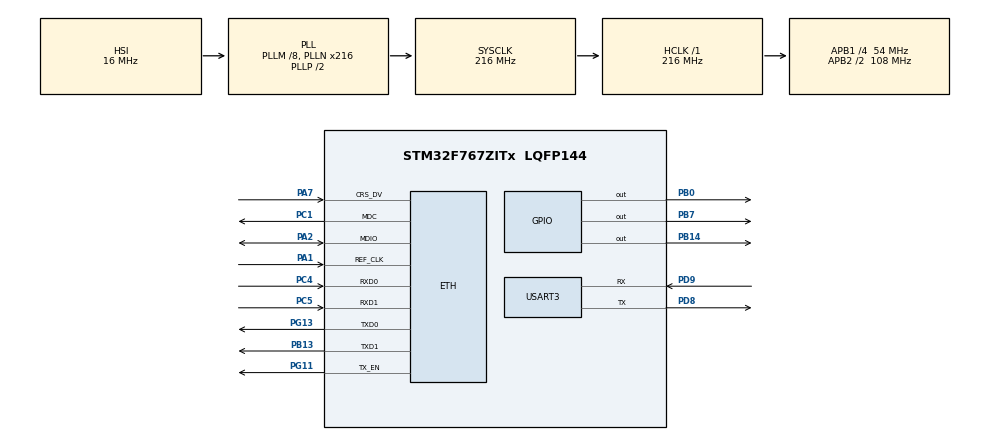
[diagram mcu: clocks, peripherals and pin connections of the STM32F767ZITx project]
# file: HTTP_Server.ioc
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ETH.MediaInterface=HAL_ETH_RMII_MODE
LWIP.BSP.number=1
LWIP.GATEWAY_ADDRESS=192.168.000.001
LWIP.IP_ADDRESS=192.168.001.025
LWIP.LWIP_DHCP=0
LWIP.LWIP_HTTPD=1
LWIP.LWIP_HTTPD_CGI=1
LWIP.NETMASK_ADDRESS=255.255.255.000
LWIP.Version=v2.1.2_Cube
LWIP0.BSP.STBoard=false
LWIP0.BSP.api=BSP_COMPONENT_DRIVER
LWIP0.BSP.component=LAN8742
LWIP0.BSP.instance=LAN8742
LWIP0.BSP.name=Driver_PHY
LWIP0.BSP.semaphore=S_LAN8742
LWIP0.BSP.solution=LAN8742
Mcu.Family=STM32F7
Mcu.Name=STM32F767ZITx
Mcu.Package=LQFP144
NVIC.PriorityGroup=NVIC_PRIORITYGROUP_4
PA1.Mode=RMII
PA1.Signal=ETH_REF_CLK
PA2.Mode=RMII
PA2.Signal=ETH_MDIO
PA7.Mode=RMII
PA7.Signal=ETH_CRS_DV
PB0.Signal=GPIO_Output
PB13.Mode=RMII
PB13.Signal=ETH_TXD1
PB14.Signal=GPIO_Output
PB7.Signal=GPIO_Output
PC1.Mode=RMII
PC1.Signal=ETH_MDC
PC4.Mode=RMII
PC4.Signal=ETH_RXD0
PC5.Mode=RMII
PC5.Signal=ETH_RXD1
PD8.Mode=Asynchronous
PD8.Signal=USART3_TX
PD9.Mode=Asynchronous
PD9.Signal=USART3_RX
PG11.Mode=RMII
PG11.Signal=ETH_TX_EN
PG13.Mode=RMII
PG13.Signal=ETH_TXD0
ProjectManager.HeapSize=0x200
ProjectManager.StackSize=0x400
ProjectManager.TargetToolchain=STM32CubeIDE
RCC.AHBFreq_Value=216000000
RCC.APB1CLKDivider=RCC_HCLK_DIV4
RCC.APB1Freq_Value=54000000
RCC.APB1TimFreq_Value=108000000
RCC.APB2CLKDivider=RCC_HCLK_DIV2
RCC.APB2Freq_Value=108000000
RCC.APB2TimFreq_Value=216000000
RCC.CortexFreq_Value=216000000
RCC.HCLKFreq_Value=216000000
RCC.HSE_VALUE=25000000
RCC.HSI_VALUE=16000000
RCC.LSE_VALUE=32768
RCC.PLLM=8
RCC.PLLN=216
RCC.SYSCLKFreq_VALUE=216000000
RCC.SYSCLKSource=RCC_SYSCLKSOURCE_PLLCLK
RCC.USBFreq_Value=216000000
RCC.VCOOutputFreq_Value=432000000
USART3.VirtualMode-Asynchronous=VM_ASYNC
VP_LWIP_VS_Enabled.Mode=Enabled
board=custom

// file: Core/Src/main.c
/* USER CODE BEGIN Header */
/**
  ******************************************************************************
  * @file           : main.c
  * @brief          : Main program body
  ******************************************************************************
  * @attention
  *
  * Copyright (c) 2023 STMicroelectronics.
  * All rights reserved.
  *
  * This software is licensed under terms that can be found in the LICENSE file
  * in the root directory of this software component.
  * If no LICENSE file comes with this software, it is provided AS-IS.
  *
  ******************************************************************************
  */
/* USER CODE END Header */
#include "main.h"
#include "lwip.h"

/* USER CODE BEGIN Includes */
#include <string.h>
#include "lwip/apps/httpd.h"
/* USER CODE END Includes */

/* USER CODE BEGIN PD */
#define TIMEOUT 5000
/* USER CODE END PD */

UART_HandleTypeDef huart3;

/* USER CODE BEGIN PV */
char msgG[10];
char msgB[10];
char msgR[10];
int GreenLED = 0;
int BlueLED = 0;
int RedLED = 0 ;

/* USER CODE END PV */

void SystemClock_Config(void);
static void MX_GPIO_Init(void);
static void MX_USART3_UART_Init(void);
/* USER CODE BEGIN PFP */
const char *LedControlCgiHandler(int iIndex, int iNumParams, char *pcParam[], char *pcValue[]);
/* USER CODE END PFP */

int main(void)
{
  /* USER CODE BEGIN 1 */
	tCGI LED_CGI = {"/LEDControl.cgi", LedControlCgiHandler};
  /* USER CODE END 1 */

  /* MCU Configuration--------------------------------------------------------*/

  /* Reset of all peripherals, Initializes the Flash interface and the Systick. */
  HAL_Init();

  /* Configure the system clock */
  SystemClock_Config();

  /* Initialize all configured peripherals */
  MX_GPIO_Init();
  MX_LWIP_Init();
  MX_USART3_UART_Init();
  /* USER CODE BEGIN 2 */
  httpd_init();
  http_set_cgi_handlers(&LED_CGI, 1);
  /* USER CODE END 2 */

  /* Infinite loop */
  /* USER CODE BEGIN WHILE */
  while (1)
  {
    MX_LWIP_Process();
    HAL_GPIO_WritePin(GPIOB, GPIO_PIN_0, GreenLED);
    HAL_GPIO_WritePin(GPIOB, GPIO_PIN_7, BlueLED);
    HAL_GPIO_WritePin(GPIOB, GPIO_PIN_14, RedLED);
    HAL_UART_Transmit(&huart3, (const uint8_t*) msgG, strlen(msgG), TIMEOUT );
    HAL_UART_Transmit(&huart3, (const uint8_t*) msgR, strlen(msgR), TIMEOUT );
    HAL_UART_Transmit(&huart3, (const uint8_t*) msgB, strlen(msgB), TIMEOUT );
    /* USER CODE END WHILE */

  }
}

void SystemClock_Config(void)
{
  RCC_OscInitTypeDef RCC_OscInitStruct = {0};
  RCC_ClkInitTypeDef RCC_ClkInitStruct = {0};

  /** Configure the main internal regulator output voltage
  */
  __HAL_RCC_PWR_CLK_ENABLE();
  __HAL_PWR_VOLTAGESCALING_CONFIG(PWR_REGULATOR_VOLTAGE_SCALE1);

  /** Initializes the RCC Oscillators according to the specified parameters
  * in the RCC_OscInitTypeDef structure.
  */
  RCC_OscInitStruct.OscillatorType = RCC_OSCILLATORTYPE_HSI;
  RCC_OscInitStruct.HSIState = RCC_HSI_ON;
  RCC_OscInitStruct.HSICalibrationValue = RCC_HSICALIBRATION_DEFAULT;
  RCC_OscInitStruct.PLL.PLLState = RCC_PLL_ON;
  RCC_OscInitStruct.PLL.PLLSource = RCC_PLLSOURCE_HSI;
  RCC_OscInitStruct.PLL.PLLM = 8;
  RCC_OscInitStruct.PLL.PLLN = 216;
  RCC_OscInitStruct.PLL.PLLP = RCC_PLLP_DIV2;
  RCC_OscInitStruct.PLL.PLLQ = 2;
  RCC_OscInitStruct.PLL.PLLR = 2;
  if (HAL_RCC_OscConfig(&RCC_OscInitStruct) != HAL_OK)
  {
    Error_Handler();
  }

  /** Activate the Over-Drive mode
  */
  if (HAL_PWREx_EnableOverDrive() != HAL_OK)
  {
    Error_Handler();
  }

  /** Initializes the CPU, AHB and APB buses clocks
  */
  RCC_ClkInitStruct.ClockType = RCC_CLOCKTYPE_HCLK|RCC_CLOCKTYPE_SYSCLK
                              |RCC_CLOCKTYPE_PCLK1|RCC_CLOCKTYPE_PCLK2;
  RCC_ClkInitStruct.SYSCLKSource = RCC_SYSCLKSOURCE_PLLCLK;
  RCC_ClkInitStruct.AHBCLKDivider = RCC_SYSCLK_DIV1;
  RCC_ClkInitStruct.APB1CLKDivider = RCC_HCLK_DIV4;
  RCC_ClkInitStruct.APB2CLKDivider = RCC_HCLK_DIV2;

  if (HAL_RCC_ClockConfig(&RCC_ClkInitStruct, FLASH_LATENCY_7) != HAL_OK)
  {
    Error_Handler();
  }
}

static void MX_USART3_UART_Init(void)
{

  huart3.Instance = USART3;
  huart3.Init.BaudRate = 115200;
  huart3.Init.WordLength = UART_WORDLENGTH_8B;
  huart3.Init.StopBits = UART_STOPBITS_1;
  huart3.Init.Parity = UART_PARITY_NONE;
  huart3.Init.Mode = UART_MODE_TX_RX;
  huart3.Init.HwFlowCtl = UART_HWCONTROL_NONE;
  huart3.Init.OverSampling = UART_OVERSAMPLING_16;
  huart3.Init.OneBitSampling = UART_ONE_BIT_SAMPLE_DISABLE;
  huart3.AdvancedInit.AdvFeatureInit = UART_ADVFEATURE_NO_INIT;
  if (HAL_UART_Init(&huart3) != HAL_OK)
  {
    Error_Handler();
  }

}

static void MX_GPIO_Init(void)
{
  GPIO_InitTypeDef GPIO_InitStruct = {0};

  /* GPIO Ports Clock Enable */
  __HAL_RCC_GPIOC_CLK_ENABLE();
  __HAL_RCC_GPIOA_CLK_ENABLE();
  __HAL_RCC_GPIOB_CLK_ENABLE();
  __HAL_RCC_GPIOD_CLK_ENABLE();
  __HAL_RCC_GPIOG_CLK_ENABLE();

  /*Configure GPIO pin Output Level */
  HAL_GPIO_WritePin(GPIOB, GPIO_PIN_0|GPIO_PIN_14|GPIO_PIN_7, GPIO_PIN_RESET);

  /*Configure GPIO pins : PB0 PB14 PB7 */
  GPIO_InitStruct.Pin = GPIO_PIN_0|GPIO_PIN_14|GPIO_PIN_7;
  GPIO_InitStruct.Mode = GPIO_MODE_OUTPUT_PP;
  GPIO_InitStruct.Pull = GPIO_NOPULL;
  GPIO_InitStruct.Speed = GPIO_SPEED_FREQ_LOW;
  HAL_GPIO_Init(GPIOB, &GPIO_InitStruct);

}

/* USER CODE BEGIN 4 */
const char *LedControlCgiHandler(int index, int numParams, char *pcParam[], char *pcValue[])
{
  if(index == 0)
  {
    for(int i=0; i < numParams; i++)
    {
      if(strcmp(pcParam[i], "green") == 0)
      {
        if(strcmp(pcValue[i], "ON") == 0)
        {
          GreenLED = 1;
          strcpy(msgG, "GreenON");
        }
        else
        {
          GreenLED = 0;
          strcpy(msgG, "GreenOFF");
        }
      }
      else if(strcmp(pcParam[i], "blue") == 0)
      {
        if(strcmp(pcValue[i], "ON") == 0)
        {
          BlueLED = 1;
          strcpy(msgB, "BlueON");
        }
        else
        {
          BlueLED = 0;
          strcpy(msgB, "BlueOFF");
        }
      }
      else if(strcmp(pcParam[i], "red") == 0)
      {
        if(strcmp(pcValue[i], "ON") == 0)
        {
          RedLED = 1;
          strcpy(msgR, "RedON");
        }
        else
        {
          RedLED = 0;
          strcpy(msgR, "RedOFF");
        }
      }
    }
  }
  return "/index.html";
}
/* USER CODE END 4 */

void Error_Handler(void)
{
  __disable_irq();
  while (1)
  {
  }
}
